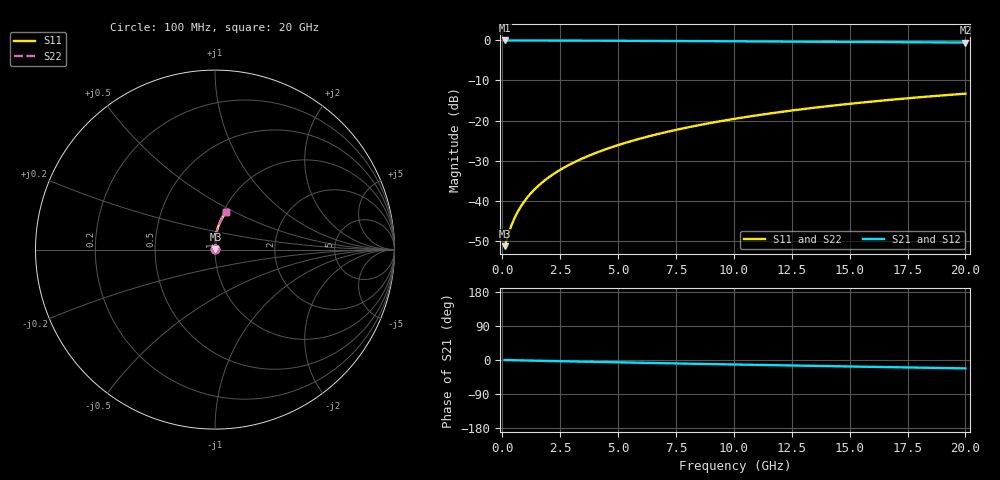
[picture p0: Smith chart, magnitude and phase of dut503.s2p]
! Touchstone file exported from HFSS 2024.1.0
!  File:  C:/UserFiles/LocalFiles/RDL_TSV_Batchsim/temp_RDL_bottom_503_1779687336.aedt
!  Generated:  01:38:20 PM May 25, 2026
!  Design:  RDL_bottom
!  Project:  temp_RDL_bottom_503_1779687336
!  Setup:  Setup1
!  Solution:  Sweep
! Variables:
!  dtsv = 10.80580581um
!  hbump = 3um
!  htsv = 76.11um
!  ldown = 307.32um
!  lrdl = 100um
!  p = 40
!  p1 = 40.47um
!  rhole = 1um
!  t = 450um
!  tdown = 2.39um
!  trdl = 3.915915916um
!  wdown = 21.16um
!  wrdl = 20um
# GHz S MA R 50.000000
! Terminal data exported
! Port[1] = RDL1_T1
! Port[2] = RDL1_T2
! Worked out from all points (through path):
!   200 points, 100 MHz to 20 GHz, reference 50 ohm
!   highest |S21| = -0.02 dB at 100 MHz (marker M1); lowest = -0.5 dB at 20 GHz (marker M2)
!   group delay of S21, straight-line fit = 3.06 ps
!   lowest |S11| = -51.4 dB at 100 MHz (marker M3), VSWR 1.01, Z = 50.2 + j0.109 ohm
!   |S11| at or under -10 dB: start of sweep to end of sweep
!   |S22| runs from -51.4 to -13.3 dB; largest |S21 - S12| = 4.9e-15
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0.1  0.002703 23.5  0.9975 -0.1  0.9975 -0.1  0.002703 23.5
! Gamma 0 0 0 0
! Port Impedance 50 0 50 0
0.3  0.004101 50.1  0.9973 -0.4  0.9973 -0.4  0.004101 50.1
0.4  0.004941 56.7  0.9972 -0.5  0.9972 -0.5  0.004941 56.7
0.6  0.006673 64.8  0.997 -0.8  0.997 -0.8  0.006674 64.8
0.7  0.007553 67.5  0.9969 -0.9  0.9969 -0.9  0.007553 67.5
0.9  0.009334 71.5  0.9967 -1.2  0.9967 -1.2  0.009334 71.5
1.2  0.01205 75.4  0.9963 -1.5  0.9963 -1.5  0.01205 75.4
1.4  0.01388 77.3  0.9961 -1.8  0.9961 -1.8  0.01388 77.3
1.7  0.01667 79.4  0.9958 -2.2  0.9958 -2.2  0.01667 79.4
2.2  0.02137 81.7  0.9951 -2.8  0.9951 -2.8  0.02137 81.7
2.8  0.02713 83.5  0.9941 -3.5  0.9941 -3.5  0.02713 83.5
3.5  0.034 84.8  0.9927 -4.4  0.9927 -4.4  0.034 84.8
4.2  0.04106 85.6  0.9911 -5.2  0.9911 -5.2  0.04106 85.6
5  0.04933 86.1  0.9891 -6.2  0.9891 -6.2  0.04933 86.1
5.9  0.05888 86.3  0.9866 -7.2  0.9866 -7.2  0.05888 86.3
6.8  0.06866 86.1  0.9839 -8.3  0.9839 -8.3  0.06867 86.1
8.4  0.08649 85.3  0.9788 -10.1  0.9788 -10.1  0.0865 85.3
10.1  0.1058 84.0  0.9732 -12.0  0.9732 -12.0  0.1058 84.0
11.7  0.1241 82.5  0.9678 -13.7  0.9678 -13.7  0.1241 82.5
13.4  0.1435 80.7  0.9621 -15.5  0.9621 -15.5  0.1435 80.7
16.7  0.1806 77.1  0.9508 -18.9  0.9508 -18.9  0.1806 77.1
20  0.2164 73.4  0.9393 -22.2  0.9393 -22.2  0.2164 73.4
